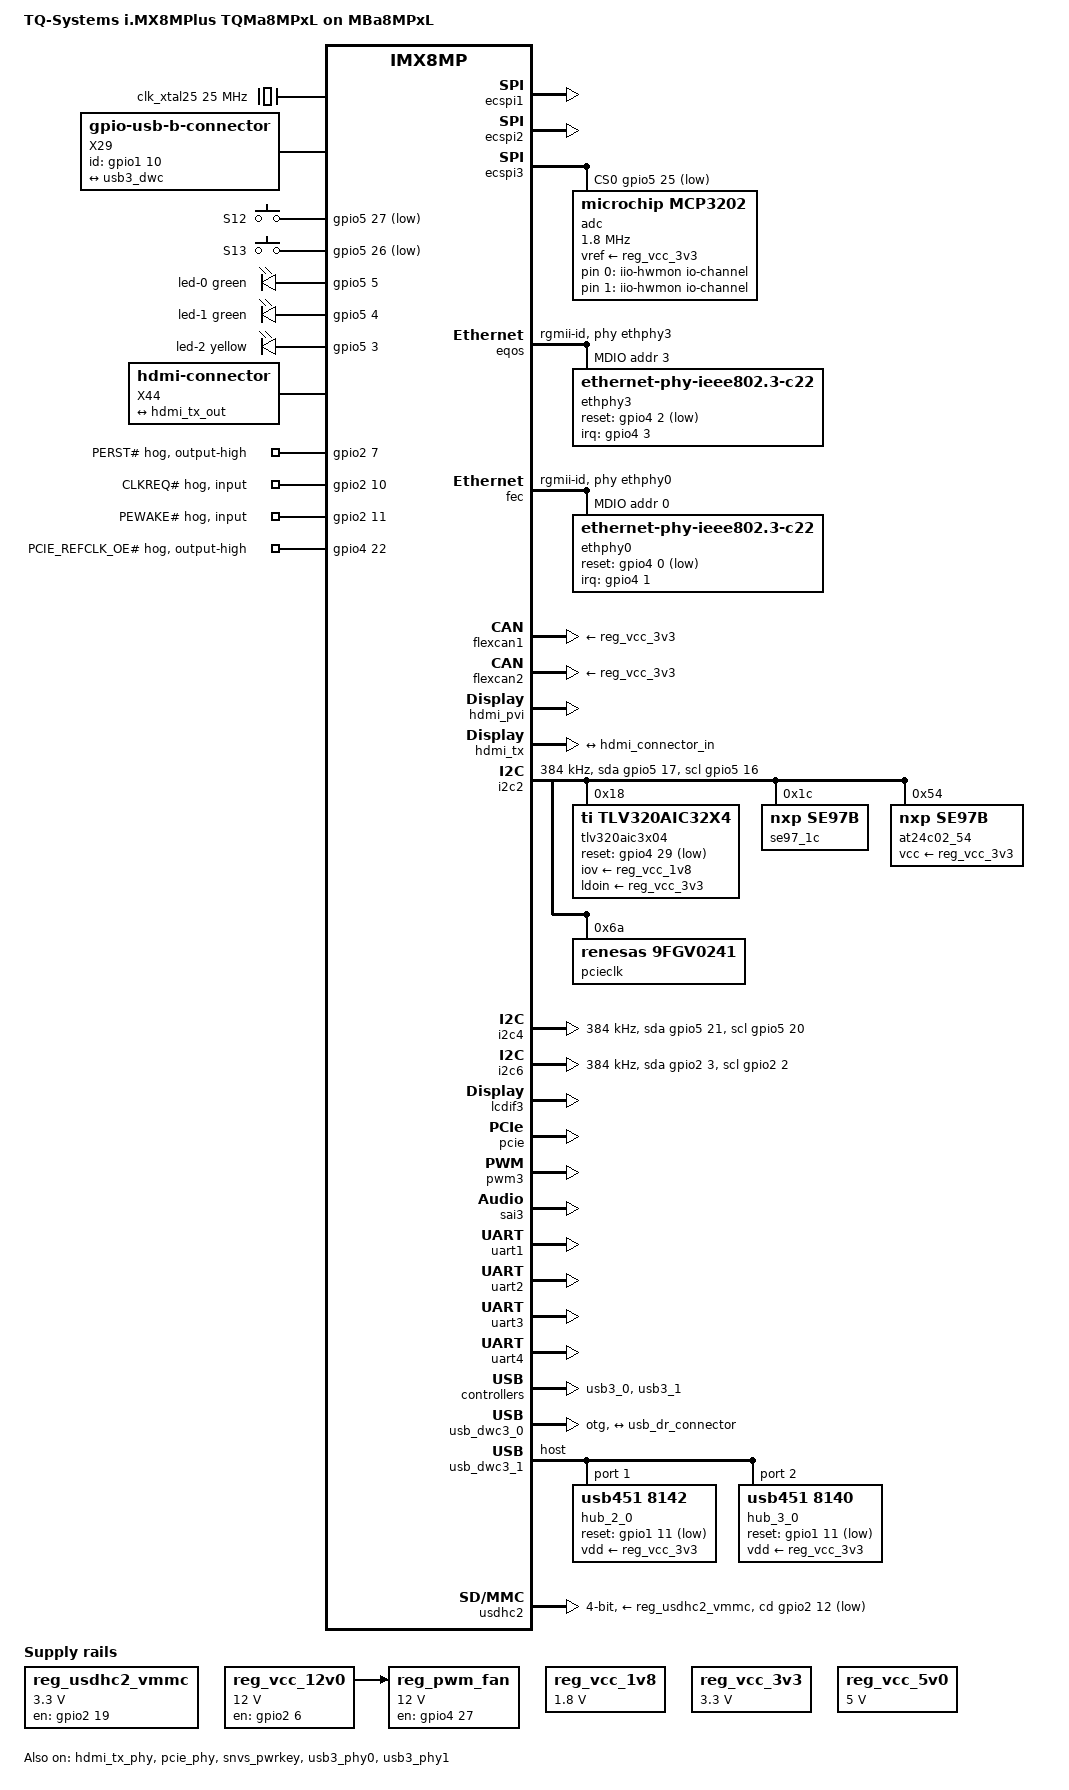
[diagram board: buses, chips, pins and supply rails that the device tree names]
// SPDX-License-Identifier: GPL-2.0-or-later OR MIT
/*
 * Copyright 2021-2022 TQ-Systems GmbH
 * Author: Alexander Stein <alexander.stein@tq-group.com>
 */

/dts-v1/;

#include <dt-bindings/leds/common.h>
#include <dt-bindings/net/ti-dp83867.h>
#include <dt-bindings/phy/phy-imx8-pcie.h>
#include <dt-bindings/pwm/pwm.h>
#include "imx8mp-tqma8mpql.dtsi"

/ {
	model = "TQ-Systems i.MX8MPlus TQMa8MPxL on MBa8MPxL";
	compatible = "tq,imx8mp-tqma8mpql-mba8mpxl", "tq,imx8mp-tqma8mpql", "fsl,imx8mp";
	chassis-type = "embedded";

	chosen {
		stdout-path = &uart4;
	};

	iio-hwmon {
		compatible = "iio-hwmon";
		io-channels = <&adc 0>, <&adc 1>;
	};

	aliases {
		mmc0 = &usdhc3;
		mmc1 = &usdhc2;
		mmc2 = &usdhc1;
		rtc0 = &pcf85063;
		rtc1 = &snvs_rtc;
		spi0 = &flexspi;
		spi1 = &ecspi1;
		spi2 = &ecspi2;
		spi3 = &ecspi3;
	};

	backlight_lvds: backlight {
		compatible = "pwm-backlight";
		pinctrl-names = "default";
		pinctrl-0 = <&pinctrl_backlight>;
		pwms = <&pwm2 0 5000000 0>;
		brightness-levels = <0 4 8 16 32 64 128 255>;
		default-brightness-level = <7>;
		power-supply = <&reg_vcc_12v0>;
		enable-gpios = <&gpio3 19 GPIO_ACTIVE_HIGH>;
		status = "disabled";
	};

	clk_xtal25: clk-xtal25 {
		compatible = "fixed-clock";
		#clock-cells = <0>;
		clock-frequency = <25000000>;
	};

	connector {
		compatible = "gpio-usb-b-connector", "usb-b-connector";
		type = "micro";
		label = "X29";
		pinctrl-names = "default";
		pinctrl-0 = <&pinctrl_usbcon0>;
		id-gpios = <&gpio1 10 GPIO_ACTIVE_HIGH>;

		port {
			usb_dr_connector: endpoint {
				remote-endpoint = <&usb3_dwc>;
			};
		};
	};

	fan0: pwm-fan {
		compatible = "pwm-fan";
		pinctrl-names = "default";
		pinctrl-0 = <&pinctrl_pwmfan>;
		fan-supply = <&reg_pwm_fan>;
		#cooling-cells = <2>;
		/* typical 25 kHz -> 40.000 nsec */
		pwms = <&pwm3 0 40000 PWM_POLARITY_INVERTED>;
		cooling-levels = <0 32 64 128 196 240>;
		pulses-per-revolution = <2>;
		interrupt-parent = <&gpio5>;
		interrupts = <18 IRQ_TYPE_EDGE_FALLING>;
		status = "disabled";
	};

	gpio-keys {
		compatible = "gpio-keys";
		pinctrl-names = "default";
		pinctrl-0 = <&pinctrl_gpiobutton>;
		autorepeat;

		switch-1 {
			label = "S12";
			linux,code = <BTN_0>;
			gpios = <&gpio5 27 GPIO_ACTIVE_LOW>;
			wakeup-source;
		};

		switch-2 {
			label = "S13";
			linux,code = <BTN_1>;
			gpios = <&gpio5 26 GPIO_ACTIVE_LOW>;
			wakeup-source;
		};
	};

	gpio-leds {
		compatible = "gpio-leds";
		pinctrl-names = "default";
		pinctrl-0 = <&pinctrl_gpioled>;

		led-0 {
			color = <LED_COLOR_ID_GREEN>;
			function = LED_FUNCTION_STATUS;
			function-enumerator = <0>;
			gpios = <&gpio5 5 GPIO_ACTIVE_HIGH>;
			linux,default-trigger = "default-on";
		};

		led-1 {
			color = <LED_COLOR_ID_GREEN>;
			function = LED_FUNCTION_HEARTBEAT;
			gpios = <&gpio5 4 GPIO_ACTIVE_HIGH>;
			linux,default-trigger = "heartbeat";
		};

		led-2 {
			color = <LED_COLOR_ID_YELLOW>;
			function = LED_FUNCTION_STATUS;
			function-enumerator = <1>;
			gpios = <&gpio5 3 GPIO_ACTIVE_HIGH>;
		};
	};

	hdmi-connector {
		compatible = "hdmi-connector";
		label = "X44";
		type = "a";

		port {
			hdmi_connector_in: endpoint {
				remote-endpoint = <&hdmi_tx_out>;
			};
		};
	};

	display: display {
		/*
		 * Display is not fixed, so compatible has to be added from
		 * DT overlay
		 */
		pinctrl-names = "default";
		pinctrl-0 = <&pinctrl_lvdsdisplay>;
		power-supply = <&reg_vcc_3v3>;
		enable-gpios = <&gpio3 20 GPIO_ACTIVE_HIGH>;
		backlight = <&backlight_lvds>;
		status = "disabled";
	};

	reg_pwm_fan: regulator-pwm-fan {
		compatible = "regulator-fixed";
		pinctrl-names = "default";
		pinctrl-0 = <&pinctrl_regpwmfan>;
		regulator-name = "FAN_PWR";
		regulator-min-microvolt = <12000000>;
		regulator-max-microvolt = <12000000>;
		gpio = <&gpio4 27 GPIO_ACTIVE_HIGH>;
		enable-active-high;
		vin-supply = <&reg_vcc_12v0>;
	};

	reg_usdhc2_vmmc: regulator-usdhc2 {
		compatible = "regulator-fixed";
		pinctrl-names = "default";
		pinctrl-0 = <&pinctrl_reg_usdhc2_vmmc>;
		regulator-name = "VSD_3V3";
		regulator-min-microvolt = <3300000>;
		regulator-max-microvolt = <3300000>;
		gpio = <&gpio2 19 GPIO_ACTIVE_HIGH>;
		enable-active-high;
		startup-delay-us = <100>;
		off-on-delay-us = <12000>;
	};

	reg_vcc_12v0: regulator-12v0 {
		compatible = "regulator-fixed";
		pinctrl-names = "default";
		pinctrl-0 = <&pinctrl_reg12v0>;
		regulator-name = "VCC_12V0";
		regulator-min-microvolt = <12000000>;
		regulator-max-microvolt = <12000000>;
		gpio = <&gpio2 6 GPIO_ACTIVE_HIGH>;
		enable-active-high;
	};

	reg_vcc_1v8: regulator-1v8 {
		compatible = "regulator-fixed";
		regulator-name = "VCC_1V8";
		regulator-min-microvolt = <1800000>;
		regulator-max-microvolt = <1800000>;
	};

	reg_vcc_3v3: regulator-3v3 {
		compatible = "regulator-fixed";
		regulator-name = "VCC_3V3";
		regulator-min-microvolt = <3300000>;
		regulator-max-microvolt = <3300000>;
	};

	reg_vcc_5v0: regulator-5v0 {
		compatible = "regulator-fixed";
		regulator-name = "VCC_5V0";
		regulator-min-microvolt = <5000000>;
		regulator-max-microvolt = <5000000>;
	};

	reserved-memory {
		#address-cells = <2>;
		#size-cells = <2>;
		ranges;

		ocram: ocram@900000 {
			no-map;
			reg = <0 0x900000 0 0x70000>;
		};

		/* global autoconfigured region for contiguous allocations */
		linux,cma {
			compatible = "shared-dma-pool";
			reusable;
			size = <0 0x38000000>;
			alloc-ranges = <0 0x40000000 0 0xB0000000>;
			linux,cma-default;
		};
	};

	sound {
		compatible = "fsl,imx-audio-tlv320aic32x4";
		model = "tq-tlv320aic32x";
		audio-cpu = <&sai3>;
		audio-codec = <&tlv320aic3x04>;
	};

	thermal-zones {
		soc-thermal {
			trips {
				soc_active0: trip-active0 {
					temperature = <40000>;
					hysteresis = <5000>;
					type = "active";
				};

				soc_active1: trip-active1 {
					temperature = <48000>;
					hysteresis = <3000>;
					type = "active";
				};

				soc_active2: trip-active2 {
					temperature = <60000>;
					hysteresis = <10000>;
					type = "active";
				};
			};

			cooling-maps {
				map1 {
					trip = <&soc_active0>;
					cooling-device = <&fan0 1 1>;
				};

				map2 {
					trip = <&soc_active1>;
					cooling-device = <&fan0 2 2>;
				};

				map3 {
					trip = <&soc_active2>;
					cooling-device = <&fan0 3 3>;
				};
			};
		};
	};
};

&ecspi1 {
	pinctrl-names = "default";
	pinctrl-0 = <&pinctrl_ecspi1>;
	cs-gpios = <&gpio5 9 GPIO_ACTIVE_LOW>;
	status = "okay";
};

&ecspi2 {
	pinctrl-names = "default";
	pinctrl-0 = <&pinctrl_ecspi2>;
	cs-gpios = <&gpio5 13 GPIO_ACTIVE_LOW>;
	status = "okay";
};

&ecspi3 {
	pinctrl-names = "default";
	pinctrl-0 = <&pinctrl_ecspi3>;
	cs-gpios = <&gpio5 25 GPIO_ACTIVE_LOW>;
	status = "okay";

	adc: adc@0 {
		reg = <0>;
		compatible = "microchip,mcp3202";
		/* 100 ksps * 18 */
		spi-max-frequency = <1800000>;
		vref-supply = <&reg_vcc_3v3>;
		#io-channel-cells = <1>;
	};
};

&eqos {
	pinctrl-names = "default";
	pinctrl-0 = <&pinctrl_eqos>, <&pinctrl_eqos_phy>;
	phy-mode = "rgmii-id";
	phy-handle = <&ethphy3>;
	status = "okay";

	mdio {
		compatible = "snps,dwmac-mdio";
		#address-cells = <1>;
		#size-cells = <0>;

		ethphy3: ethernet-phy@3 {
			compatible = "ethernet-phy-ieee802.3-c22";
			reg = <3>;
			ti,rx-internal-delay = <DP83867_RGMIIDCTL_2_25_NS>;
			ti,tx-internal-delay = <DP83867_RGMIIDCTL_2_25_NS>;
			ti,fifo-depth = <DP83867_PHYCR_FIFO_DEPTH_4_B_NIB>;
			ti,dp83867-rxctrl-strap-quirk;
			ti,clk-output-sel = <DP83867_CLK_O_SEL_OFF>;
			reset-gpios = <&gpio4 2 GPIO_ACTIVE_LOW>;
			reset-assert-us = <500000>;
			reset-deassert-us = <50000>;
			enet-phy-lane-no-swap;
			interrupt-parent = <&gpio4>;
			interrupts = <3 IRQ_TYPE_EDGE_FALLING>;
		};
	};
};

&fec {
	pinctrl-names = "default";
	pinctrl-0 = <&pinctrl_fec>, <&pinctrl_fec_phy>;
	phy-mode = "rgmii-id";
	phy-handle = <&ethphy0>;
	fsl,magic-packet;
	status = "okay";

	mdio {
		#address-cells = <1>;
		#size-cells = <0>;

		ethphy0: ethernet-phy@0 {
			compatible = "ethernet-phy-ieee802.3-c22";
			reg = <0>;
			ti,rx-internal-delay = <DP83867_RGMIIDCTL_2_25_NS>;
			ti,tx-internal-delay = <DP83867_RGMIIDCTL_2_25_NS>;
			ti,fifo-depth = <DP83867_PHYCR_FIFO_DEPTH_4_B_NIB>;
			ti,dp83867-rxctrl-strap-quirk;
			ti,clk-output-sel = <DP83867_CLK_O_SEL_OFF>;
			reset-gpios = <&gpio4 0 GPIO_ACTIVE_LOW>;
			reset-assert-us = <500000>;
			reset-deassert-us = <50000>;
			enet-phy-lane-no-swap;
			interrupt-parent = <&gpio4>;
			interrupts = <1 IRQ_TYPE_EDGE_FALLING>;
		};
	};
};

&flexcan1 {
	pinctrl-names = "default";
	pinctrl-0 = <&pinctrl_flexcan1>;
	xceiver-supply = <&reg_vcc_3v3>;
	status = "okay";
};

&flexcan2 {
	pinctrl-names = "default";
	pinctrl-0 = <&pinctrl_flexcan2>;
	xceiver-supply = <&reg_vcc_3v3>;
	status = "okay";
};

&gpio1 {
	pinctrl-names = "default";
	pinctrl-0 = <&pinctrl_gpio1>;

	gpio-line-names = "GPO1", "GPO0", "", "GPO3",
			  "", "", "GPO2", "GPI0",
			  "PMIC_IRQ", "GPI1", "OTG_ID", "USB_HUB_RST#",
			  "OTG_PWR", "", "GPI2", "GPI3",
			  "", "", "", "",
			  "", "", "", "",
			  "", "", "", "",
			  "", "", "", "";
};

&gpio2 {
	pinctrl-names = "default";
	pinctrl-0 = <&pinctrl_hoggpio2>;

	gpio-line-names = "", "", "", "",
			  "", "", "VCC12V_EN", "PERST#",
			  "", "", "CLKREQ#", "PEWAKE#",
			  "USDHC2_CD", "", "", "",
			  "", "", "", "V_SD3V3_EN",
			  "", "", "", "",
			  "", "", "", "",
			  "", "", "", "";

	perst-hog {
		gpio-hog;
		gpios = <7 0>;
		output-high;
		line-name = "PERST#";
	};

	clkreq-hog {
		gpio-hog;
		gpios = <10 0>;
		input;
		line-name = "CLKREQ#";
	};

	pewake-hog {
		gpio-hog;
		gpios = <11 0>;
		input;
		line-name = "PEWAKE#";
	};
};

&gpio3 {
	gpio-line-names = "", "", "", "",
			  "", "", "", "",
			  "", "", "", "",
			  "", "", "LVDS0_RESET#", "",
			  "", "", "", "LVDS0_BLT_EN",
			  "LVDS0_PWR_EN", "", "", "",
			  "", "", "", "",
			  "", "", "", "";
};

&gpio4 {
	pinctrl-names = "default";
	pinctrl-0 = <&pinctrl_gpio4>;

	gpio-line-names = "ENET0_RST#", "ENET0_INT#", "ENET1_RST#", "ENET1_INT#",
			  "", "", "", "",
			  "", "", "", "",
			  "", "", "", "",
			  "", "", "DP_IRQ", "DSI_EN",
			  "HDMI_OC#", "TEMP_EVENT#", "PCIE_REFCLK_OE#", "",
			  "", "", "", "FAN_PWR",
			  "RTC_EVENT#", "CODEC_RST#", "", "";

	pcie-refclkreq-hog {
		gpio-hog;
		gpios = <22 0>;
		output-high;
		line-name = "PCIE_REFCLK_OE#";
	};
};

&gpio5 {
	gpio-line-names = "", "", "", "LED2",
			  "LED1", "LED0", "CSI0_RESET#", "CSI0_SYNC",
			  "CSI0_TRIGGER", "CSI0_ENABLE", "", "",
			  "", "ECSPI2_SS0", "", "",
			  "", "", "", "",
			  "", "", "", "",
			  "", "ECSPI3_SS0", "SWITCH_A", "SWITCH_B",
			  "", "", "", "";
};

&hdmi_pvi {
	status = "okay";
};

&hdmi_tx {
	pinctrl-names = "default";
	pinctrl-0 = <&pinctrl_hdmi>;
	status = "okay";

	ports {
		port@1 {
			hdmi_tx_out: endpoint {
				remote-endpoint = <&hdmi_connector_in>;
			};
		};
	};
};

&hdmi_tx_phy {
	status = "okay";
};

&i2c2 {
	clock-frequency = <384000>;
	pinctrl-names = "default", "gpio";
	pinctrl-0 = <&pinctrl_i2c2>;
	pinctrl-1 = <&pinctrl_i2c2_gpio>;
	scl-gpios = <&gpio5 16 (GPIO_ACTIVE_HIGH | GPIO_OPEN_DRAIN)>;
	sda-gpios = <&gpio5 17 (GPIO_ACTIVE_HIGH | GPIO_OPEN_DRAIN)>;
	status = "okay";

	tlv320aic3x04: audio-codec@18 {
		compatible = "ti,tlv320aic32x4";
		pinctrl-names = "default";
		pinctrl-0 = <&pinctrl_tlv320aic3x04>;
		reg = <0x18>;
		clock-names = "mclk";
		clocks = <&audio_blk_ctrl IMX8MP_CLK_AUDIOMIX_SAI3_MCLK1>;
		reset-gpios = <&gpio4 29 GPIO_ACTIVE_LOW>;
		iov-supply = <&reg_vcc_1v8>;
		ldoin-supply = <&reg_vcc_3v3>;
	};

	se97_1c: temperature-sensor@1c {
		compatible = "nxp,se97b", "jedec,jc-42.4-temp";
		reg = <0x1c>;
	};

	at24c02_54: eeprom@54 {
		compatible = "nxp,se97b", "atmel,24c02";
		reg = <0x54>;
		pagesize = <16>;
		vcc-supply = <&reg_vcc_3v3>;
	};

	pcieclk: clock-generator@6a {
		compatible = "renesas,9fgv0241";
		reg = <0x6a>;
		clocks = <&clk_xtal25>;
		#clock-cells = <1>;
	};
};

&i2c4 {
	clock-frequency = <384000>;
	pinctrl-names = "default", "gpio";
	pinctrl-0 = <&pinctrl_i2c4>;
	pinctrl-1 = <&pinctrl_i2c4_gpio>;
	scl-gpios = <&gpio5 20 (GPIO_ACTIVE_HIGH | GPIO_OPEN_DRAIN)>;
	sda-gpios = <&gpio5 21 (GPIO_ACTIVE_HIGH | GPIO_OPEN_DRAIN)>;
	status = "okay";
};

&i2c6 {
	clock-frequency = <384000>;
	pinctrl-names = "default", "gpio";
	pinctrl-0 = <&pinctrl_i2c6>;
	pinctrl-1 = <&pinctrl_i2c6_gpio>;
	scl-gpios = <&gpio2 2 (GPIO_ACTIVE_HIGH | GPIO_OPEN_DRAIN)>;
	sda-gpios = <&gpio2 3 (GPIO_ACTIVE_HIGH | GPIO_OPEN_DRAIN)>;
	status = "okay";
};

&lcdif3 {
	status = "okay";
};

&pcf85063 {
	/* RTC_EVENT# is connected on MBa8MPxL */
	pinctrl-names = "default";
	pinctrl-0 = <&pinctrl_pcf85063>;
	interrupt-parent = <&gpio4>;
	interrupts = <28 IRQ_TYPE_EDGE_FALLING>;
};

&pcie_phy {
	fsl,clkreq-unsupported;
	fsl,refclk-pad-mode = <IMX8_PCIE_REFCLK_PAD_INPUT>;
	clocks = <&pcieclk 0>;
	clock-names = "ref";
	status = "okay";
};

&pcie {
	clocks = <&clk IMX8MP_CLK_HSIO_ROOT>,
		 <&clk IMX8MP_CLK_HSIO_AXI>,
		 <&clk IMX8MP_CLK_PCIE_ROOT>;
	clock-names = "pcie", "pcie_bus", "pcie_aux";
	assigned-clocks = <&clk IMX8MP_CLK_PCIE_AUX>;
	assigned-clock-rates = <10000000>;
	assigned-clock-parents = <&clk IMX8MP_SYS_PLL2_50M>;
	status = "okay";
};

&pwm2 {
	pinctrl-names = "default";
	pinctrl-0 = <&pinctrl_pwm2>;
	status = "disabled";
};

&pwm3 {
	pinctrl-names = "default";
	pinctrl-0 = <&pinctrl_pwm3>;
	status = "okay";
};

&sai3 {
	pinctrl-names = "default";
	pinctrl-0 = <&pinctrl_sai3>;
	assigned-clocks = <&clk IMX8MP_CLK_SAI3>;
	assigned-clock-parents = <&clk IMX8MP_AUDIO_PLL1_OUT>;
	assigned-clock-rates = <12288000>;
	fsl,sai-mclk-direction-output;
	status = "okay";
};

&snvs_pwrkey {
	status = "okay";
};

&uart1 {
	pinctrl-names = "default";
	pinctrl-0 = <&pinctrl_uart1>;
	assigned-clocks = <&clk IMX8MP_CLK_UART1>;
	assigned-clock-parents = <&clk IMX8MP_SYS_PLL1_80M>;
	status = "okay";
};

&uart2 {
	pinctrl-names = "default";
	pinctrl-0 = <&pinctrl_uart2>;
	assigned-clocks = <&clk IMX8MP_CLK_UART2>;
	assigned-clock-parents = <&clk IMX8MP_SYS_PLL1_80M>;
	status = "okay";
};

&uart3 {
	pinctrl-names = "default";
	pinctrl-0 = <&pinctrl_uart3>;
	assigned-clocks = <&clk IMX8MP_CLK_UART3>;
	assigned-clock-parents = <&clk IMX8MP_SYS_PLL1_80M>;
	status = "okay";
};

&uart4 {
	/* console */
	pinctrl-names = "default";
	pinctrl-0 = <&pinctrl_uart4>;
	status = "okay";
};

&usb3_0 {
	pinctrl-names = "default";
	pinctrl-0 = <&pinctrl_usb0>;
	fsl,over-current-active-low;
	status = "okay";
};

&usb3_1 {
	fsl,disable-port-power-control;
	fsl,permanently-attached;
	status = "okay";
};

&usb3_phy0 {
	vbus-supply = <&reg_vcc_5v0>;
	status = "okay";
};

&usb3_phy1 {
	vbus-supply = <&reg_vcc_5v0>;
	status = "okay";
};

&usb_dwc3_0 {
	/* dual role is implemented, but not a full featured OTG */
	hnp-disable;
	srp-disable;
	adp-disable;
	dr_mode = "otg";
	usb-role-switch;
	role-switch-default-mode = "peripheral";
	status = "okay";

	port {
		usb3_dwc: endpoint {
			remote-endpoint = <&usb_dr_connector>;
		};
	};
};

&usb_dwc3_1 {
	dr_mode = "host";
	#address-cells = <1>;
	#size-cells = <0>;
	pinctrl-names = "default";
	pinctrl-0 = <&pinctrl_usbhub>;
	status = "okay";

	hub_2_0: hub@1 {
		compatible = "usb451,8142";
		reg = <1>;
		peer-hub = <&hub_3_0>;
		reset-gpios = <&gpio1 11 GPIO_ACTIVE_LOW>;
		vdd-supply = <&reg_vcc_3v3>;
	};

	hub_3_0: hub@2 {
		compatible = "usb451,8140";
		reg = <2>;
		peer-hub = <&hub_2_0>;
		reset-gpios = <&gpio1 11 GPIO_ACTIVE_LOW>;
		vdd-supply = <&reg_vcc_3v3>;
	};
};

&usdhc2 {
	pinctrl-names = "default", "state_100mhz", "state_200mhz";
	pinctrl-0 = <&pinctrl_usdhc2>, <&pinctrl_usdhc2_gpio>;
	pinctrl-1 = <&pinctrl_usdhc2_100mhz>, <&pinctrl_usdhc2_gpio>;
	pinctrl-2 = <&pinctrl_usdhc2_200mhz>, <&pinctrl_usdhc2_gpio>;
	cd-gpios = <&gpio2 12 GPIO_ACTIVE_LOW>;
	vmmc-supply = <&reg_usdhc2_vmmc>;
	no-mmc;
	no-sdio;
	disable-wp;
	bus-width = <4>;
	status = "okay";
};

&iomuxc {
	pinctrl_backlight: backlightgrp {
		fsl,pins = <MX8MP_IOMUXC_SAI5_RXFS__GPIO3_IO19		0x14>;
	};

	pinctrl_flexcan1: flexcan1grp {
		fsl,pins = <MX8MP_IOMUXC_SAI5_RXD1__CAN1_TX		0x150>,
			   <MX8MP_IOMUXC_SAI5_RXD2__CAN1_RX		0x150>;
	};

	pinctrl_flexcan2: flexcan2grp {
		fsl,pins = <MX8MP_IOMUXC_SAI5_RXD3__CAN2_TX		0x150>,
			   <MX8MP_IOMUXC_SAI5_MCLK__CAN2_RX		0x150>;
	};

	/* only on X57, primary used as CSI0 control signals */
	pinctrl_ecspi1: ecspi1grp {
		fsl,pins = <MX8MP_IOMUXC_ECSPI1_MISO__ECSPI1_MISO	0x1c0>,
			   <MX8MP_IOMUXC_ECSPI1_MOSI__ECSPI1_MOSI	0x1c0>,
			   <MX8MP_IOMUXC_ECSPI1_SCLK__ECSPI1_SCLK	0x1c0>,
			   <MX8MP_IOMUXC_ECSPI1_SS0__GPIO5_IO09		0x1c0>;
	};

	/* on X63 and optionally on X57, can also be used as CSI1 control signals */
	pinctrl_ecspi2: ecspi2grp {
		fsl,pins = <MX8MP_IOMUXC_ECSPI2_MISO__ECSPI2_MISO	0x1c0>,
			   <MX8MP_IOMUXC_ECSPI2_MOSI__ECSPI2_MOSI	0x1c0>,
			   <MX8MP_IOMUXC_ECSPI2_SCLK__ECSPI2_SCLK	0x1c0>,
			   <MX8MP_IOMUXC_ECSPI2_SS0__GPIO5_IO13		0x1c0>;
	};

	pinctrl_ecspi3: ecspi3grp {
		fsl,pins = <MX8MP_IOMUXC_UART1_TXD__ECSPI3_MOSI		0x1c0>,
			   <MX8MP_IOMUXC_UART1_RXD__ECSPI3_SCLK		0x1c0>,
			   <MX8MP_IOMUXC_UART2_RXD__ECSPI3_MISO		0x1c0>,
			   <MX8MP_IOMUXC_UART2_TXD__GPIO5_IO25		0x1c0>;
	};

	pinctrl_eqos: eqosgrp {
		fsl,pins = <MX8MP_IOMUXC_ENET_MDC__ENET_QOS_MDC				0x40000044>,
			   <MX8MP_IOMUXC_ENET_MDIO__ENET_QOS_MDIO			0x40000044>,
			   <MX8MP_IOMUXC_ENET_RD0__ENET_QOS_RGMII_RD0			0x90>,
			   <MX8MP_IOMUXC_ENET_RD1__ENET_QOS_RGMII_RD1			0x90>,
			   <MX8MP_IOMUXC_ENET_RD2__ENET_QOS_RGMII_RD2			0x90>,
			   <MX8MP_IOMUXC_ENET_RD3__ENET_QOS_RGMII_RD3			0x90>,
			   <MX8MP_IOMUXC_ENET_RXC__CCM_ENET_QOS_CLOCK_GENERATE_RX_CLK	0x90>,
			   <MX8MP_IOMUXC_ENET_RX_CTL__ENET_QOS_RGMII_RX_CTL		0x90>,
			   <MX8MP_IOMUXC_ENET_TD0__ENET_QOS_RGMII_TD0			0x12>,
			   <MX8MP_IOMUXC_ENET_TD1__ENET_QOS_RGMII_TD1			0x12>,
			   <MX8MP_IOMUXC_ENET_TD2__ENET_QOS_RGMII_TD2			0x12>,
			   <MX8MP_IOMUXC_ENET_TD3__ENET_QOS_RGMII_TD3			0x12>,
			   <MX8MP_IOMUXC_ENET_TX_CTL__ENET_QOS_RGMII_TX_CTL		0x12>,
			   <MX8MP_IOMUXC_ENET_TXC__CCM_ENET_QOS_CLOCK_GENERATE_TX_CLK	0x14>;
	};

	pinctrl_eqos_event: eqosevtgrp {
		fsl,pins = <MX8MP_IOMUXC_SAI2_RXD0__ENET_QOS_1588_EVENT2_OUT		0x100>,
			   <MX8MP_IOMUXC_SAI2_TXD0__ENET_QOS_1588_EVENT2_IN		0x1c0>;
	};

	pinctrl_eqos_phy: eqosphygrp {
		fsl,pins = <MX8MP_IOMUXC_SAI1_RXD0__GPIO4_IO02				0x100>,
			   <MX8MP_IOMUXC_SAI1_RXD1__GPIO4_IO03				0x1c0>;
	};

	pinctrl_fec: fecgrp {
		fsl,pins = <MX8MP_IOMUXC_SAI1_RXD2__ENET1_MDC		0x40000044>,
			   <MX8MP_IOMUXC_SAI1_RXD3__ENET1_MDIO		0x40000044>,
			   <MX8MP_IOMUXC_SAI1_RXD4__ENET1_RGMII_RD0	0x90>,
			   <MX8MP_IOMUXC_SAI1_RXD5__ENET1_RGMII_RD1	0x90>,
			   <MX8MP_IOMUXC_SAI1_RXD6__ENET1_RGMII_RD2	0x90>,
			   <MX8MP_IOMUXC_SAI1_RXD7__ENET1_RGMII_RD3	0x90>,
			   <MX8MP_IOMUXC_SAI1_TXC__ENET1_RGMII_RXC	0x90>,
			   <MX8MP_IOMUXC_SAI1_TXFS__ENET1_RGMII_RX_CTL	0x90>,
			   <MX8MP_IOMUXC_SAI1_TXD0__ENET1_RGMII_TD0	0x12>,
			   <MX8MP_IOMUXC_SAI1_TXD1__ENET1_RGMII_TD1	0x12>,
			   <MX8MP_IOMUXC_SAI1_TXD2__ENET1_RGMII_TD2	0x12>,
			   <MX8MP_IOMUXC_SAI1_TXD3__ENET1_RGMII_TD3	0x12>,
			   <MX8MP_IOMUXC_SAI1_TXD4__ENET1_RGMII_TX_CTL	0x12>,
			   <MX8MP_IOMUXC_SAI1_TXD5__ENET1_RGMII_TXC	0x14>;
	};

	pinctrl_fec_event: fecevtgrp {
		fsl,pins = <MX8MP_IOMUXC_SAI1_RXFS__ENET1_1588_EVENT0_IN	0x100>,
			   <MX8MP_IOMUXC_SAI1_RXC__ENET1_1588_EVENT0_OUT	0x1c0>;
	};

	pinctrl_fec_phy: fecphygrp {
		fsl,pins = <MX8MP_IOMUXC_SAI1_RXFS__GPIO4_IO00		0x100>,
			   <MX8MP_IOMUXC_SAI1_RXC__GPIO4_IO01		0x1c0>;
	};

	pinctrl_fec_phyalt: fecphyaltgrp {
		fsl,pins = <MX8MP_IOMUXC_SAI2_TXFS__GPIO4_IO24		0x180>,
			   <MX8MP_IOMUXC_SAI2_TXC__GPIO4_IO25		0x180>;
	};

	pinctrl_gpiobutton: gpiobuttongrp {
		fsl,pins = <MX8MP_IOMUXC_UART3_RXD__GPIO5_IO26		0x10>,
			   <MX8MP_IOMUXC_UART3_TXD__GPIO5_IO27		0x10>;
	};

	pinctrl_gpioled: gpioledgrp {
		fsl,pins = <MX8MP_IOMUXC_SPDIF_EXT_CLK__GPIO5_IO05	0x14>,
			   <MX8MP_IOMUXC_SPDIF_RX__GPIO5_IO04		0x14>,
			   <MX8MP_IOMUXC_SPDIF_TX__GPIO5_IO03		0x14>;
	};

	pinctrl_gpio1: gpio1grp {
		fsl,pins = <MX8MP_IOMUXC_GPIO1_IO00__GPIO1_IO00		0x10>,
			   <MX8MP_IOMUXC_GPIO1_IO01__GPIO1_IO01		0x10>,
			   <MX8MP_IOMUXC_GPIO1_IO03__GPIO1_IO03		0x10>,
			   <MX8MP_IOMUXC_GPIO1_IO06__GPIO1_IO06		0x10>,
			   <MX8MP_IOMUXC_GPIO1_IO07__GPIO1_IO07		0x80>,
			   <MX8MP_IOMUXC_GPIO1_IO09__GPIO1_IO09		0x80>,
			   <MX8MP_IOMUXC_GPIO1_IO14__GPIO1_IO14		0x80>,
			   <MX8MP_IOMUXC_GPIO1_IO15__GPIO1_IO15		0x80>;
	};

	pinctrl_gpio4: gpio4grp {
		fsl,pins = <MX8MP_IOMUXC_SAI1_MCLK__GPIO4_IO20		0x180>,
			   <MX8MP_IOMUXC_SAI2_RXC__GPIO4_IO22		0x180>;
	};

	pinctrl_hdmi: hdmigrp {
		fsl,pins = <MX8MP_IOMUXC_HDMI_DDC_SCL__HDMIMIX_HDMI_SCL	0x400001c2>,
			   <MX8MP_IOMUXC_HDMI_DDC_SDA__HDMIMIX_HDMI_SDA	0x400001c2>,
			   <MX8MP_IOMUXC_HDMI_HPD__HDMIMIX_HDMI_HPD	0x40000010>,
			   <MX8MP_IOMUXC_HDMI_CEC__HDMIMIX_HDMI_CEC	0x40000010>;
	};

	pinctrl_hoggpio2: hoggpio2grp {
		fsl,pins = <MX8MP_IOMUXC_SD1_DATA5__GPIO2_IO07		0x140>,
			   <MX8MP_IOMUXC_SD1_RESET_B__GPIO2_IO10	0x140>,
			   <MX8MP_IOMUXC_SD1_STROBE__GPIO2_IO11		0x140>;
	};

	pinctrl_i2c2: i2c2grp {
		fsl,pins = <MX8MP_IOMUXC_I2C2_SCL__I2C2_SCL		0x400001e2>,
			   <MX8MP_IOMUXC_I2C2_SDA__I2C2_SDA		0x400001e2>;
	};

	pinctrl_i2c2_gpio: i2c2-gpiogrp {
		fsl,pins = <MX8MP_IOMUXC_I2C2_SCL__GPIO5_IO16		0x400001e2>,
			   <MX8MP_IOMUXC_I2C2_SDA__GPIO5_IO17		0x400001e2>;
	};

	pinctrl_i2c4: i2c4grp {
		fsl,pins = <MX8MP_IOMUXC_I2C4_SCL__I2C4_SCL		0x400001e2>,
			   <MX8MP_IOMUXC_I2C4_SDA__I2C4_SDA		0x400001e2>;
	};

	pinctrl_i2c4_gpio: i2c4-gpiogrp {
		fsl,pins = <MX8MP_IOMUXC_I2C4_SCL__GPIO5_IO20		0x400001e2>,
			   <MX8MP_IOMUXC_I2C4_SDA__GPIO5_IO21		0x400001e2>;
	};

	pinctrl_i2c6: i2c6grp {
		fsl,pins = <MX8MP_IOMUXC_SD1_DATA0__I2C6_SCL		0x400001e2>,
			   <MX8MP_IOMUXC_SD1_DATA1__I2C6_SDA		0x400001e2>;
	};

	pinctrl_i2c6_gpio: i2c6-gpiogrp {
		fsl,pins = <MX8MP_IOMUXC_SD1_DATA0__GPIO2_IO02		0x400001e2>,
			   <MX8MP_IOMUXC_SD1_DATA1__GPIO2_IO03		0x400001e2>;
	};

	pinctrl_lvdsdisplay: lvdsdisplaygrp {
		fsl,pins = <MX8MP_IOMUXC_SAI5_RXC__GPIO3_IO20		0x10>; /* Power enable */
	};

	pinctrl_pcf85063: pcf85063grp {
		fsl,pins = <MX8MP_IOMUXC_SAI3_RXFS__GPIO4_IO28		0x80>;
	};

	/* LVDS Backlight */
	pinctrl_pwm2: pwm2grp {
		fsl,pins = <MX8MP_IOMUXC_SAI5_RXD0__PWM2_OUT		0x14>;
	};

	/* FAN */
	pinctrl_pwm3: pwm3grp {
		fsl,pins = <MX8MP_IOMUXC_I2C3_SDA__PWM3_OUT		0x14>;
	};

	pinctrl_pwmfan: pwmfangrp {
		fsl,pins = <MX8MP_IOMUXC_I2C3_SCL__GPIO5_IO18		0x80>; /* FAN RPM */
	};

	pinctrl_reg12v0: reg12v0grp {
		fsl,pins = <MX8MP_IOMUXC_SD1_DATA4__GPIO2_IO06		0x140>; /* VCC12V enable */
	};

	pinctrl_regpwmfan: regpwmfangrp {
		fsl,pins = <MX8MP_IOMUXC_SAI2_MCLK__GPIO4_IO27		0x80>;
	};

	pinctrl_sai3: sai3grp {
		fsl,pins = <
			MX8MP_IOMUXC_SAI3_TXFS__AUDIOMIX_SAI3_TX_SYNC	0x94
			MX8MP_IOMUXC_SAI3_TXC__AUDIOMIX_SAI3_TX_BCLK	0x94
			MX8MP_IOMUXC_SAI3_RXD__AUDIOMIX_SAI3_RX_DATA00	0x94
			MX8MP_IOMUXC_SAI3_TXD__AUDIOMIX_SAI3_TX_DATA00	0x94
			MX8MP_IOMUXC_SAI3_MCLK__AUDIOMIX_SAI3_MCLK	0x94
		>;
	};

	pinctrl_tlv320aic3x04: tlv320aic3x04grp {
		fsl,pins = <
			/* CODEC RST# */
			MX8MP_IOMUXC_SAI3_RXC__GPIO4_IO29		0x180
		>;
	};

	/* X61 */
	pinctrl_uart1: uart1grp {
		fsl,pins = <MX8MP_IOMUXC_SD1_CLK__UART1_DCE_TX		0x140>,
			   <MX8MP_IOMUXC_SD1_CMD__UART1_DCE_RX		0x140>;
	};

	/* X61 */
	pinctrl_uart2: uart2grp {
		fsl,pins = <MX8MP_IOMUXC_SD1_DATA2__UART2_DCE_TX	0x140>,
			   <MX8MP_IOMUXC_SD1_DATA3__UART2_DCE_RX	0x140>;
	};

	pinctrl_uart3: uart3grp {
		fsl,pins = <MX8MP_IOMUXC_SD1_DATA6__UART3_DCE_TX	0x140>,
			   <MX8MP_IOMUXC_SD1_DATA7__UART3_DCE_RX	0x140>;
	};

	pinctrl_uart4: uart4grp {
		fsl,pins = <MX8MP_IOMUXC_UART4_RXD__UART4_DCE_RX	0x140>,
			   <MX8MP_IOMUXC_UART4_TXD__UART4_DCE_TX	0x140>;
	};

	pinctrl_usb0: usb0grp {
		fsl,pins = <MX8MP_IOMUXC_GPIO1_IO13__USB1_OTG_OC	0x1c0>,
			   <MX8MP_IOMUXC_GPIO1_IO12__USB1_OTG_PWR	0x1c0>;
	};

	pinctrl_usbcon0: usb0congrp {
		fsl,pins = <MX8MP_IOMUXC_GPIO1_IO10__GPIO1_IO10		0x1c0>;
	};

	pinctrl_usbhub: usbhubgrp {
		fsl,pins = <MX8MP_IOMUXC_GPIO1_IO11__GPIO1_IO11		0x10>;
	};

	pinctrl_usdhc2: usdhc2grp {
		fsl,pins = <MX8MP_IOMUXC_SD2_CLK__USDHC2_CLK		0x192>,
			   <MX8MP_IOMUXC_SD2_CMD__USDHC2_CMD		0x1d2>,
			   <MX8MP_IOMUXC_SD2_DATA0__USDHC2_DATA0	0x1d2>,
			   <MX8MP_IOMUXC_SD2_DATA1__USDHC2_DATA1	0x1d2>,
			   <MX8MP_IOMUXC_SD2_DATA2__USDHC2_DATA2	0x1d2>,
			   <MX8MP_IOMUXC_SD2_DATA3__USDHC2_DATA3	0x1d2>,
			   <MX8MP_IOMUXC_GPIO1_IO04__USDHC2_VSELECT	0xc0>;
	};

	pinctrl_usdhc2_100mhz: usdhc2-100mhzgrp {
		fsl,pins = <MX8MP_IOMUXC_SD2_CLK__USDHC2_CLK		0x194>,
			   <MX8MP_IOMUXC_SD2_CMD__USDHC2_CMD		0x1d4>,
			   <MX8MP_IOMUXC_SD2_DATA0__USDHC2_DATA0	0x1d4>,
			   <MX8MP_IOMUXC_SD2_DATA1__USDHC2_DATA1	0x1d4>,
			   <MX8MP_IOMUXC_SD2_DATA2__USDHC2_DATA2	0x1d4>,
			   <MX8MP_IOMUXC_SD2_DATA3__USDHC2_DATA3	0x1d4>,
			   <MX8MP_IOMUXC_GPIO1_IO04__USDHC2_VSELECT	0xc0>;
	};

	pinctrl_usdhc2_200mhz: usdhc2-200mhzgrp {
		fsl,pins = <MX8MP_IOMUXC_SD2_CLK__USDHC2_CLK		0x194>,
			   <MX8MP_IOMUXC_SD2_CMD__USDHC2_CMD		0x1d4>,
			   <MX8MP_IOMUXC_SD2_DATA0__USDHC2_DATA0	0x1d4>,
			   <MX8MP_IOMUXC_SD2_DATA1__USDHC2_DATA1	0x1d4>,
			   <MX8MP_IOMUXC_SD2_DATA2__USDHC2_DATA2	0x1d4>,
			   <MX8MP_IOMUXC_SD2_DATA3__USDHC2_DATA3	0x1d4>,
			   <MX8MP_IOMUXC_GPIO1_IO04__USDHC2_VSELECT	0xc0>;
	};

	pinctrl_usdhc2_gpio: usdhc2-gpiogrp {
		fsl,pins = <MX8MP_IOMUXC_SD2_CD_B__GPIO2_IO12		0x1c0>;
	};
};
